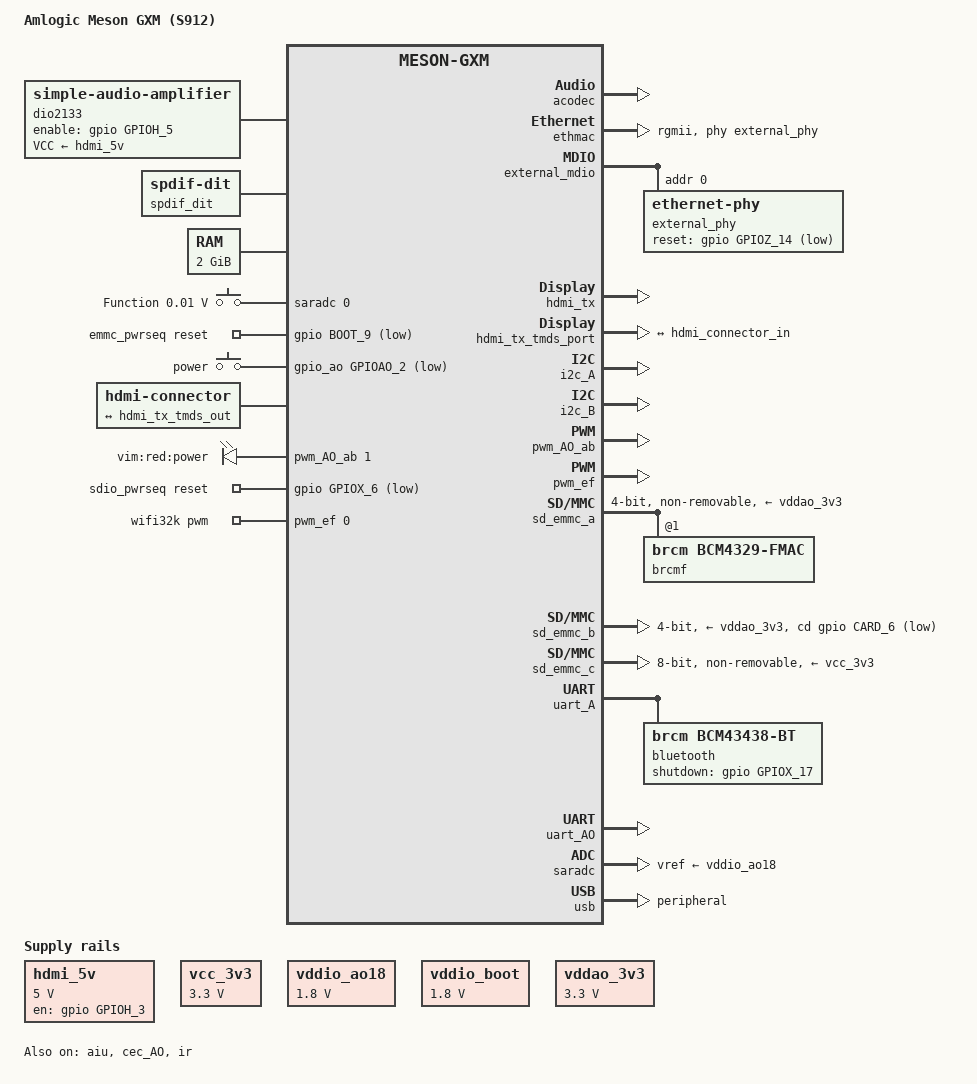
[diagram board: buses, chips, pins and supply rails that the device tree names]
// SPDX-License-Identifier: (GPL-2.0+ OR MIT)
/*
 * Copyright (c) 2018 Amlogic, Inc. All rights reserved.
 */

/dts-v1/;

#include <dt-bindings/input/input.h>

#include "meson-gxm.dtsi"
#include <dt-bindings/sound/meson-aiu.h>

/ {
	compatible = "amlogic,q200-n1", "amlogic,s912", "amlogic,meson-gxm";
	model = "Amlogic Meson GXM (S912)";

	aliases {
		serial0 = &uart_AO;
		ethernet0 = &ethmac;
	};

	dio2133: analog-amplifier {
		compatible = "simple-audio-amplifier";
		sound-name-prefix = "AU2";
		VCC-supply = <&hdmi_5v>;
		enable-gpios = <&gpio GPIOH_5 GPIO_ACTIVE_HIGH>;
	};

	spdif_dit: audio-codec-0 {
		#sound-dai-cells = <0>;
		compatible = "linux,spdif-dit";
		status = "okay";
		sound-name-prefix = "DIT";
	};

	chosen {
		stdout-path = "serial0:115200n8";
	};

	memory@0 {
		device_type = "memory";
		reg = <0x0 0x0 0x0 0x80000000>;
	};

	adc-keys {
		compatible = "adc-keys";
		io-channels = <&saradc 0>;
		io-channel-names = "buttons";
		keyup-threshold-microvolt = <1710000>;

		button-function {
			label = "Function";
			linux,code = <KEY_FN>;
			press-threshold-microvolt = <10000>;
		};
	};

	emmc_pwrseq: emmc-pwrseq {
		compatible = "mmc-pwrseq-emmc";
		reset-gpios = <&gpio BOOT_9 GPIO_ACTIVE_LOW>;
	};

	gpio-keys-polled {
		compatible = "gpio-keys-polled";
		poll-interval = <100>;

		power-button {
			label = "power";
			linux,code = <KEY_POWER>;
			gpios = <&gpio_ao GPIOAO_2 GPIO_ACTIVE_LOW>;
		};
	};

	hdmi-connector {
		compatible = "hdmi-connector";
		type = "a";

		port {
			hdmi_connector_in: endpoint {
				remote-endpoint = <&hdmi_tx_tmds_out>;
			};
		};
	};

	pwmleds {
		compatible = "pwm-leds";

		power {
			label = "vim:red:power";
			pwms = <&pwm_AO_ab 1 7812500 0>;
			max-brightness = <255>;
			linux,default-trigger = "default-on";
		};
	};

	sdio_pwrseq: sdio-pwrseq {
		compatible = "mmc-pwrseq-simple";
		reset-gpios = <&gpio GPIOX_6 GPIO_ACTIVE_LOW>;
		clocks = <&wifi32k>;
		clock-names = "ext_clock";
	};

	hdmi_5v: regulator-hdmi-5v {
		compatible = "regulator-fixed";

		regulator-name = "HDMI_5V";
		regulator-min-microvolt = <5000000>;
		regulator-max-microvolt = <5000000>;

		gpio = <&gpio GPIOH_3 GPIO_ACTIVE_HIGH>;
		enable-active-high;
		regulator-always-on;
	};

	vcc_3v3: regulator-vcc_3v3 {
		compatible = "regulator-fixed";
		regulator-name = "VCC_3V3";
		regulator-min-microvolt = <3300000>;
		regulator-max-microvolt = <3300000>;
	};

	vddio_ao18: regulator-vddio_ao18 {
		compatible = "regulator-fixed";
		regulator-name = "VDDIO_AO18";
		regulator-min-microvolt = <1800000>;
		regulator-max-microvolt = <1800000>;
	};

	vddio_boot: regulator-vddio_boot {
		compatible = "regulator-fixed";
		regulator-name = "VDDIO_BOOT";
		regulator-min-microvolt = <1800000>;
		regulator-max-microvolt = <1800000>;
	};

	vddao_3v3: regulator-vddao_3v3 {
		compatible = "regulator-fixed";
		regulator-name = "VDDAO_3V3";
		regulator-min-microvolt = <3300000>;
		regulator-max-microvolt = <3300000>;
	};

	wifi32k: wifi32k {
		compatible = "pwm-clock";
		#clock-cells = <0>;
		clock-frequency = <32768>;
		pwms = <&pwm_ef 0 30518 0>; /* PWM_E at 32.768KHz */
	};

	sound {
		compatible = "amlogic,gx-sound-card";
		model = "GX-P230-Q200";
		audio-aux-devs = <&dio2133>;
		audio-widgets = "Line", "Lineout";
		audio-routing = "AU2 INL", "ACODEC LOLP",
				"AU2 INR", "ACODEC LORP",
				"AU2 INL", "ACODEC LOLN",
				"AU2 INR", "ACODEC LORN",
				"Lineout", "AU2 OUTL",
				"Lineout", "AU2 OUTR";
		assigned-clocks = <&clkc CLKID_MPLL0>,
				  <&clkc CLKID_MPLL1>,
				  <&clkc CLKID_MPLL2>;
		assigned-clock-parents = <0>, <0>, <0>;
		assigned-clock-rates = <294912000>,
				       <270950400>,
				       <393216000>;
		status = "okay";

		dai-link-0 {
			sound-dai = <&aiu AIU_CPU CPU_I2S_FIFO>;
		};

		dai-link-1 {
			sound-dai = <&aiu AIU_CPU CPU_SPDIF_FIFO>;
		};

		dai-link-2 {
			sound-dai = <&aiu AIU_CPU CPU_I2S_ENCODER>;
			dai-format = "i2s";
			mclk-fs = <256>;

			codec-0 {
				sound-dai = <&aiu AIU_HDMI CTRL_I2S>;
			};

			codec-1 {
				sound-dai = <&aiu AIU_ACODEC CTRL_I2S>;
			};
		};

		dai-link-3 {
			sound-dai = <&aiu AIU_CPU CPU_SPDIF_ENCODER>;

			codec-0 {
				sound-dai = <&spdif_dit>;
			};
		};

		dai-link-4 {
			sound-dai = <&aiu AIU_HDMI CTRL_OUT>;

			codec-0 {
				sound-dai = <&hdmi_tx>;
			};
		};

		dai-link-5 {
			sound-dai = <&aiu AIU_ACODEC CTRL_OUT>;

			codec-0 {
				sound-dai = <&acodec>;
			};
		};
	};
};

&acodec {
	AVDD-supply = <&vddio_ao18>;
	status = "okay";
};

&aiu {
	status = "okay";
	pinctrl-0 = <&spdif_out_h_pins>;
	pinctrl-names = "default";

};

&cec_AO {
	status = "okay";
	pinctrl-0 = <&ao_cec_pins>;
	pinctrl-names = "default";
	hdmi-phandle = <&hdmi_tx>;
};

&ethmac {
	pinctrl-0 = <&eth_pins>;
	pinctrl-names = "default";

	/* Select external PHY by default */
	phy-handle = <&external_phy>;

	amlogic,tx-delay-ns = <2>;

	/* External PHY is in RGMII */
	phy-mode = "rgmii";

	status = "okay";
};

&external_mdio {
	external_phy: ethernet-phy@0 {
		/* Realtek RTL8211F (0x001cc916) */
		reg = <0>;

		reset-assert-us = <10000>;
		reset-deassert-us = <30000>;
		reset-gpios = <&gpio GPIOZ_14 GPIO_ACTIVE_LOW>;

		interrupt-parent = <&gpio_intc>;
		/* MAC_INTR on GPIOZ_15 */
		interrupts = <25 IRQ_TYPE_LEVEL_LOW>;
	};
};

&hdmi_tx {
	status = "okay";
	pinctrl-0 = <&hdmi_hpd_pins>, <&hdmi_i2c_pins>;
	pinctrl-names = "default";
	hdmi-supply = <&hdmi_5v>;
};

&hdmi_tx_tmds_port {
	hdmi_tx_tmds_out: endpoint {
		remote-endpoint = <&hdmi_connector_in>;
	};
};

&i2c_A {
	status = "okay";
	pinctrl-0 = <&i2c_a_pins>;
	pinctrl-names = "default";
};

&i2c_B {
	status = "okay";
	pinctrl-0 = <&i2c_b_pins>;
	pinctrl-names = "default";

	rtc: rtc@51 {
		/* has to be enabled manually when a battery is connected: */
		status = "disabled";
		compatible = "haoyu,hym8563";
		reg = <0x51>;
		#clock-cells = <0>;
		clock-frequency = <32768>;
		clock-output-names = "xin32k";
	};
};

&ir {
	status = "okay";
	pinctrl-0 = <&remote_input_ao_pins>;
	pinctrl-names = "default";
	linux,rc-map-name = "rc-khadas";
};

&pwm_AO_ab {
	status = "okay";
	pinctrl-0 = <&pwm_ao_a_3_pins>, <&pwm_ao_b_pins>;
	pinctrl-names = "default";
	clocks = <&clkc CLKID_FCLK_DIV4>;
	clock-names = "clkin0";
};

&pwm_ef {
	status = "okay";
	pinctrl-0 = <&pwm_e_pins>, <&pwm_f_clk_pins>;
	pinctrl-names = "default";
	clocks = <&clkc CLKID_FCLK_DIV4>;
	clock-names = "clkin0";
};

/* Wireless SDIO Module */
&sd_emmc_a {
	status = "okay";
	pinctrl-0 = <&sdio_pins>;
	pinctrl-1 = <&sdio_clk_gate_pins>;
	pinctrl-names = "default", "clk-gate";
	#address-cells = <1>;
	#size-cells = <0>;

	bus-width = <4>;
	max-frequency = <60000000>;

	non-removable;
	disable-wp;

	/* WiFi firmware requires power to be kept while in suspend */
	keep-power-in-suspend;

	mmc-pwrseq = <&sdio_pwrseq>;

	vmmc-supply = <&vddao_3v3>;
	vqmmc-supply = <&vddio_boot>;

	brcmf: wifi@1 {
		reg = <1>;
		compatible = "brcm,bcm4329-fmac";
	};
};

/* SD card */
&sd_emmc_b {
	status = "okay";
	pinctrl-0 = <&sdcard_pins>;
	pinctrl-1 = <&sdcard_clk_gate_pins>;
	pinctrl-names = "default", "clk-gate";

	bus-width = <4>;
	cap-sd-highspeed;
	max-frequency = <50000000>;
	disable-wp;

	cd-gpios = <&gpio CARD_6 GPIO_ACTIVE_LOW>;

	vmmc-supply = <&vddao_3v3>;
	vqmmc-supply = <&vddio_boot>;
};

/* eMMC */
&sd_emmc_c {
	status = "okay";
	pinctrl-0 = <&emmc_pins>, <&emmc_ds_pins>;
	pinctrl-1 = <&emmc_clk_gate_pins>;
	pinctrl-names = "default", "clk-gate";

	bus-width = <8>;
	cap-mmc-highspeed;
	max-frequency = <200000000>;
	non-removable;
	disable-wp;
	mmc-ddr-1_8v;
	mmc-hs200-1_8v;

	mmc-pwrseq = <&emmc_pwrseq>;
	vmmc-supply = <&vcc_3v3>;
	vqmmc-supply = <&vddio_boot>;
};

/* This one is connected to the Bluetooth module */
&uart_A {
	status = "okay";
	pinctrl-0 = <&uart_a_pins>, <&uart_a_cts_rts_pins>;
	pinctrl-names = "default";
	uart-has-rtscts;

	bluetooth {
		compatible = "brcm,bcm43438-bt";
		shutdown-gpios = <&gpio GPIOX_17 GPIO_ACTIVE_HIGH>;
		max-speed = <2000000>;
		clocks = <&wifi32k>;
		clock-names = "lpo";
	};
};

/* This is brought out on the Linux_RX (18) and Linux_TX (19) pins: */
&uart_AO {
	status = "okay";
	pinctrl-0 = <&uart_ao_a_pins>;
	pinctrl-names = "default";
};

&saradc {
	status = "okay";
	vref-supply = <&vddio_ao18>;
};

&usb {
	status = "okay";
	dr_mode = "peripheral";
};
